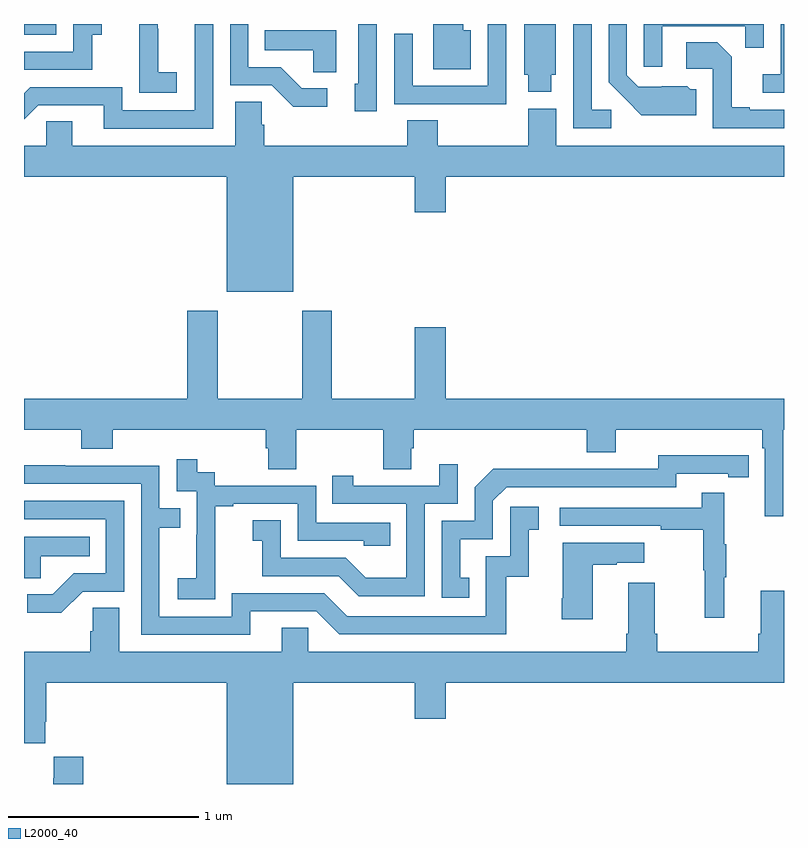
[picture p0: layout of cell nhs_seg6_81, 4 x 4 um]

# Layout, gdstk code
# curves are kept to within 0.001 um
import gdstk
lib = gdstk.Library(unit=1e-6, precision=1e-09)
def R(c, l, rs):  # rectangles x0, y0, x1, y1
    for r in rs: c.add(gdstk.rectangle(r[:2], r[2:], *l))
def P(c, l, *ps):  # polygons
    for p in ps: c.add(gdstk.Polygon(p, *l))
L2000_40 = (2000, 40)

nhs_seg6_81 = lib.new_cell('nhs_seg6_81')
R(nhs_seg6_81, L2000_40, [(115,921.444,115.17,921.5)])
P(nhs_seg6_81, L2000_40, [(118.09,921.048),(117.987,921.048),(117.987,921.5),(117.891,921.5),(117.891,920.952),(118.09,920.952)],
  [(115.804,921.247),(115.706,921.247),(115.706,921.476),(115.704,921.476),(115.704,921.5),(115.607,921.5),(115.607,921.343),(115.606,921.343),(115.606,921.137),(115.804,921.137)],
  [(115.359,921.443),(115.408,921.443),(115.408,921.5),(115.26,921.5),(115.26,921.354),(115,921.354),(115,921.258),(115.359,921.258)],
  [(116.596,921.162),(116.461,921.162),(116.35,921.273),(116.181,921.273),(116.181,921.5),(116.085,921.5),(116.085,921.177),(116.304,921.177),(116.417,921.065),(116.596,921.065)],
  [(117.775,921.234),(117.799,921.234),(117.799,921.5),(117.632,921.5),(117.632,921.234),(117.653,921.234),(117.653,921.143),(117.775,921.143)],
  [(118.537,921.156),(118.506,921.156),(118.49,921.172),(118.233,921.171),(118.173,921.231),(118.173,921.5),(118.077,921.5),(118.077,921.194),(118.249,921.02),(118.537,921.02)],
  [(119,921.5),(118.983,921.5),(118.983,921.235),(118.887,921.235),(118.887,921.138),(119,921.138)],
  [(117.352,921.466),(117.313,921.466),(117.313,921.5),(117.155,921.5),(117.155,921.263),(117.352,921.263)],
  [(117.537,921.5),(117.441,921.5),(117.441,921.174),(117.045,921.174),(117.045,921.448),(116.949,921.448),(116.949,921.078),(117.265,921.078),(117.265,921.077),(117.537,921.077)],
  [(115.995,921.5),(115.899,921.5),(115.899,921.045),(115.518,921.045),(115.518,921.168),(115.032,921.168),(115,921.136),(115,920.998),(115.074,921.072),(115.421,921.072),(115.421,920.949),(115.995,920.949)],
  [(116.856,921.5),(116.76,921.5),(116.76,921.186),(116.741,921.186),(116.741,921.042),(116.856,921.042)],
  [(118.359,921.489),(118.795,921.489),(118.795,921.376),(118.893,921.376),(118.893,921.5),(118.263,921.5),(118.263,921.276),(118.359,921.276)],
  [(116.644,921.466),(116.266,921.466),(116.266,921.362),(116.523,921.362),(116.523,921.247),(116.644,921.247)],
  [(119,921.048),(118.819,921.048),(118.819,921.061),(118.725,921.061),(118.725,921.328),(118.649,921.404),(118.485,921.404),(118.485,921.264),(118.626,921.264),(118.626,920.952),(119,920.952)],
  [(116.416,920.696),(117.056,920.696),(117.056,920.508),(117.22,920.508),(117.22,920.696),(119,920.696),(119,920.86),(117.802,920.86),(117.802,921.055),(117.655,921.055),(117.655,920.86),(117.177,920.86),(117.177,920.993),(117.017,920.993),(117.017,920.86),(116.264,920.86),(116.264,920.969),(116.25,920.969),(116.25,921.092),(116.111,921.092),(116.111,920.86),(115.255,920.86),(115.255,920.987),(115.116,920.987),(115.116,920.86),(115,920.86),(115,920.696),(116.066,920.696),(116.066,920.09),(116.416,920.09)],
  [(118.996,919.364),(119,919.364),(119,919.528),(117.22,919.528),(117.22,919.903),(117.056,919.903),(117.056,919.528),(116.619,919.528),(116.619,919.99),(116.464,919.99),(116.464,919.528),(116.019,919.528),(116.019,919.99),(115.859,919.99),(115.859,919.528),(115,919.528),(115,919.364),(115.301,919.364),(115.301,919.265),(115.466,919.265),(115.466,919.364),(116.273,919.364),(116.273,919.266),(116.285,919.266),(116.285,919.156),(116.433,919.156),(116.433,919.364),(116.89,919.364),(116.89,919.156),(117.037,919.156),(117.037,919.266),(117.05,919.266),(117.05,919.364),(117.962,919.364),(117.962,919.247),(118.114,919.247),(118.114,919.364),(118.886,919.364),(118.886,919.268),(118.899,919.268),(118.899,918.909),(118.996,918.909)],
  [(117.344,918.585),(117.295,918.585),(117.295,918.789),(117.468,918.789),(117.468,918.99),(117.54,919.062),(118.434,919.062),(118.434,919.134),(118.706,919.134),(118.706,919.114),(118.814,919.114),(118.814,919.23),(118.338,919.231),(118.338,919.158),(117.878,919.158),(117.878,919.16),(117.47,919.16),(117.372,919.062),(117.372,918.885),(117.198,918.885),(117.198,918.48),(117.344,918.48)],
  [(116.007,918.679),(116.006,918.679),(116.006,918.963),(116.101,918.963),(116.101,918.975),(116.442,918.975),(116.442,918.78),(116.787,918.78),(116.787,918.753),(116.927,918.753),(116.927,918.876),(116.538,918.876),(116.538,919.071),(116.004,919.071),(116.004,919.14),(115.912,919.14),(115.912,919.21),(115.803,919.21),(115.803,919.041),(115.908,919.041),(115.908,918.812),(115.907,918.812),(115.907,918.583),(115.809,918.583),(115.809,918.473),(116.007,918.473)],
  [(117.108,918.975),(117.282,918.975),(117.282,919.183),(117.185,919.183),(117.185,919.071),(116.734,919.071),(116.734,919.123),(116.623,919.123),(116.623,918.975),(117.012,918.975),(117.012,918.586),(116.798,918.586),(116.694,918.69),(116.352,918.69),(116.352,918.889),(116.205,918.889),(116.205,918.779),(116.254,918.779),(116.254,918.594),(116.657,918.594),(116.762,918.489),(117.108,918.489)],
  [(116.191,918.408),(116.538,918.408),(116.658,918.288),(117.538,918.288),(117.538,918.591),(117.656,918.591),(117.656,918.837),(117.709,918.837),(117.709,918.958),(117.558,918.958),(117.558,918.699),(117.429,918.699),(117.429,918.384),(116.7,918.384),(116.58,918.504),(116.094,918.504),(116.094,918.381),(115.713,918.381),(115.713,918.85),(115.823,918.85),(115.823,918.951),(115.713,918.951),(115.713,919.176),(115.217,919.176),(115.217,919.178),(115,919.178),(115,919.08),(115.617,919.08),(115.617,918.285),(116.191,918.285)],
  [(118.685,918.587),(118.696,918.587),(118.696,918.761),(118.685,918.761),(118.685,919.033),(118.567,919.033),(118.567,918.954),(117.819,918.954),(117.819,918.858),(118.351,918.858),(118.351,918.838),(118.575,918.838),(118.575,918.624),(118.582,918.624),(118.582,918.375),(118.685,918.375)],
  [(115.308,918.513),(115.527,918.513),(115.527,918.99),(115,918.99),(115,918.894),(115.431,918.894),(115.431,918.609),(115.262,918.609),(115.151,918.498),(115.017,918.498),(115.017,918.401),(115.195,918.401)],
  [(115.089,918.698),(115.346,918.698),(115.346,918.802),(115,918.802),(115,918.583),(115.089,918.583)],
  [(117.994,918.655),(118.121,918.655),(118.121,918.665),(118.264,918.665),(118.264,918.769),(117.836,918.769),(117.836,918.478),(117.829,918.478),(117.829,918.366),(117.994,918.366)],
  [(116.416,918.032),(117.056,918.032),(117.056,917.844),(117.22,917.844),(117.22,918.032),(119,918.032),(119,918.517),(118.877,918.517),(118.877,918.292),(118.865,918.292),(118.865,918.196),(118.334,918.196),(118.334,918.292),(118.321,918.292),(118.321,918.559),(118.181,918.559),(118.181,918.292),(118.169,918.292),(118.169,918.196),(116.496,918.196),(116.496,918.323),(116.357,918.323),(116.357,918.196),(115.501,918.196),(115.501,918.428),(115.362,918.428),(115.362,918.305),(115.349,918.305),(115.349,918.196),(115,918.196),(115,917.715),(115.111,917.715),(115.111,917.827),(115.118,917.827),(115.118,918.032),(116.066,918.032),(116.066,917.5),(116.416,917.5)],
  [(115.313,917.644),(115.157,917.644),(115.157,917.531),(115.153,917.531),(115.153,917.5),(115.313,917.5)])

lib.write_gds('nhs_seg6_81.gds')
